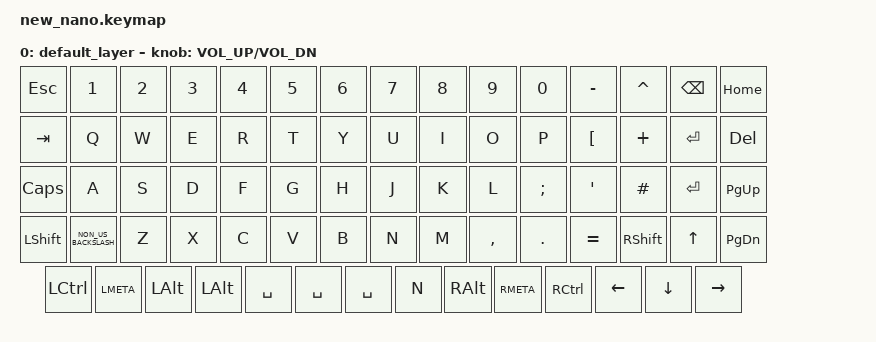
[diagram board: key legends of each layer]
#include <behaviors.dtsi>
#include <dt-bindings/zmk/keys.h>
#include <dt-bindings/zmk/bt.h>
#include <dt-bindings/zmk/rgb.h>
#include <dt-bindings/zmk/backlight.h>


/ {
  chosen {
    zmk,kscan = &kscan0;
  };

  kscan0: kscan {
      compatible = "zmk,kscan-gpio-matrix";
      wakeup-source;
      diode-direction = "col2row";
      col-gpios
          = <&gpio0 30 GPIO_ACTIVE_HIGH>
          , <&gpio0 28 GPIO_ACTIVE_HIGH>
          , <&gpio0 31 GPIO_ACTIVE_HIGH>
          , <&gpio0 2 GPIO_ACTIVE_HIGH>
          , <&gpio0 29 GPIO_ACTIVE_HIGH>
          , <&gpio0 3 GPIO_ACTIVE_HIGH>
          , <&gpio1 15 GPIO_ACTIVE_HIGH>
          , <&gpio1 14 GPIO_ACTIVE_HIGH>
          , <&gpio0 16 GPIO_ACTIVE_HIGH>
          , <&gpio0 13 GPIO_ACTIVE_HIGH>
          , <&gpio0 15 GPIO_ACTIVE_HIGH>
          , <&gpio1 13 GPIO_ACTIVE_HIGH>
          , <&gpio1 12 GPIO_ACTIVE_HIGH>
          , <&gpio1 11 GPIO_ACTIVE_HIGH>
          , <&gpio1 10 GPIO_ACTIVE_HIGH>
          ;
      row-gpios
          = <&gpio0 23 (GPIO_ACTIVE_HIGH | GPIO_PULL_DOWN)>
          , <&gpio0 20 (GPIO_ACTIVE_HIGH | GPIO_PULL_DOWN)>
          , <&gpio0 21 (GPIO_ACTIVE_HIGH | GPIO_PULL_DOWN)>
          , <&gpio0 19 (GPIO_ACTIVE_HIGH | GPIO_PULL_DOWN)>
          , <&gpio0 17 (GPIO_ACTIVE_HIGH | GPIO_PULL_DOWN)>
          ;
  };

  keymap {
    compatible = "zmk,keymap";
    default_layer {
      bindings = <
      &kp ESC &kp N1 &kp N2 &kp N3 &kp N4 &kp N5 &kp N6 &kp N7 &kp N8 &kp N9 &kp N0 &kp MINUS &kp CARET &kp BSPC &kp HOME
        &kp TAB &kp Q &kp W &kp E &kp R &kp T &kp Y &kp U &kp I &kp O &kp P &kp LEFT_BRACKET &kp PLUS &kp RET &kp DEL
        &kp CLCK &kp A &kp S &kp D &kp F &kp G &kp H &kp J &kp K &kp L &kp SEMICOLON &kp SINGLE_QUOTE &kp HASH &kp RET &kp PG_UP
        &kp LSHFT &kp NON_US_BACKSLASH &kp Z &kp X &kp C &kp V &kp B &kp N &kp M &kp COMMA &kp DOT &kp EQUAL &kp RSHFT &kp UP &kp PG_DN
        &kp LCTRL &kp LMETA &kp LALT &kp LALT /*<---placeholder, is ignored by layout!*/ &kp SPACE  /*<---placeholder, is ignored by layout!*/  &kp SPACE   &kp SPACE  /*<---placeholder, is ignored by layout!*/ &kp N  /*<---placeholder, is ignored by layout!*/ &kp RALT &kp RMETA &kp RCTRL &kp LEFT &kp DOWN &kp RIGHT  >;
      sensor-bindings = <&inc_dec_kp C_VOL_UP C_VOL_DN>;
    };
  };
};
